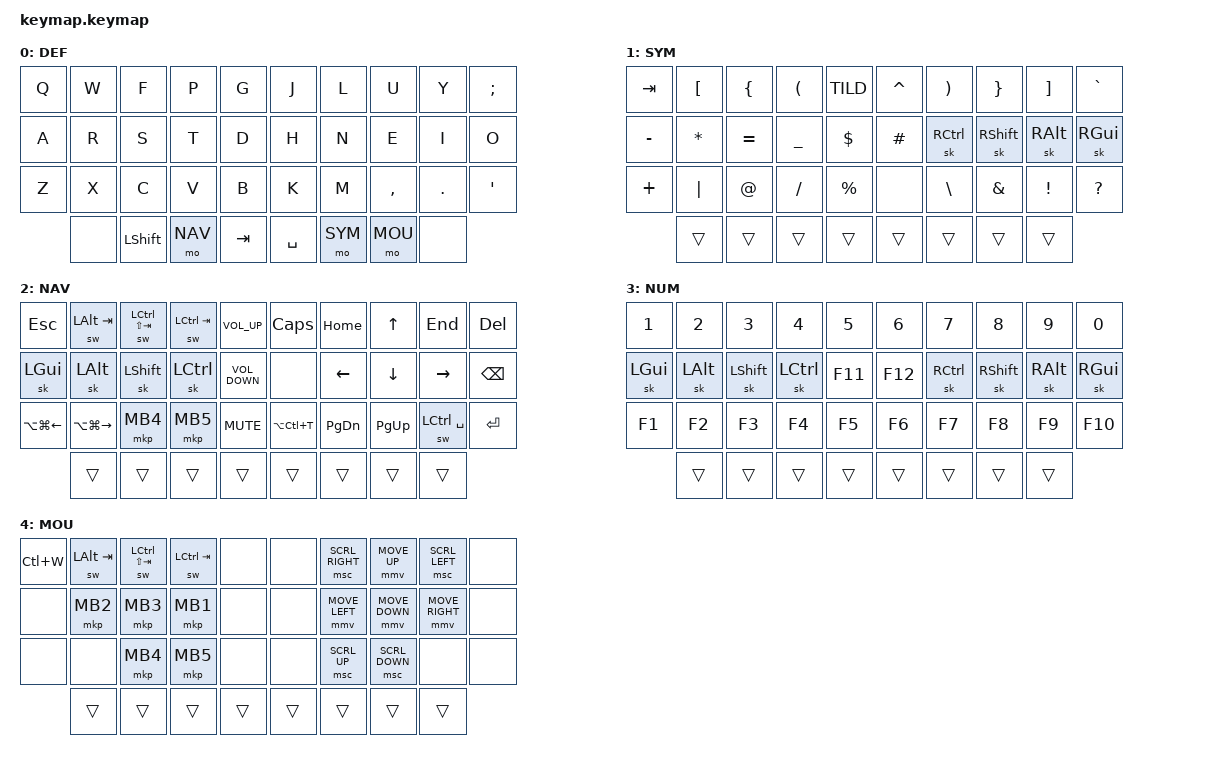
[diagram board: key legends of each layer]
#include <behaviors.dtsi>
#include <behaviors/swapper.dtsi>
#include <dt-bindings/zmk/keys.h>
#include <dt-bindings/zmk/pointing.h>
#include <dt-bindings/zmk/mouse.h>

#define DEF 0
#define SYM 1
#define NAV 2
#define NUM 3
#define MOU 4

&mmv {
    acceleration-exponent = <2>;
};
&msc {
    acceleration-exponent = <2>;
};

/ {
    

    keymap {
        compatible = "zmk,keymap";

        DEF { 
            bindings = <
                &kp Q        &kp W        &kp F        &kp P        &kp G         &kp J        &kp L        &kp U        &kp Y        &kp SEMI
                &kp A        &kp R        &kp S        &kp T        &kp D         &kp H        &kp N        &kp E        &kp I        &kp O
                &kp Z        &kp X        &kp C        &kp V        &kp B         &kp K        &kp M        &kp COMMA    &kp DOT      &kp SQT
                             &none        &kp LSHFT    &mo NAV      &kp TAB       &kp SPC      &mo SYM      &mo MOU      &none
            >;
        };

        SYM { 
            bindings = <
                &kp TAB         &kp LBKT        &kp LBRC        &kp LPRN        &kp TILD         &kp CARET       &kp RPRN         &kp RBRC        &kp RBKT         &kp GRAVE
                &kp MINUS       &kp ASTERISK    &kp EQUAL       &kp UNDER       &kp DLLR         &kp HASH        &sk RCTRL        &sk RSHFT       &sk RALT         &sk RGUI
                &kp PLUS        &kp PIPE        &kp AT          &kp SLASH       &kp PERCENT      &none           &kp BACKSLASH    &kp AMPERSAND   &kp EXCLAMATION  &kp QUESTION 
                                &trans          &trans          &trans          &trans           &trans          &trans           &trans          &trans
            >;
        };

        NAV { 
            bindings = <
                &kp ESCAPE       &sw LALT TAB      &sw LCTRL LS(TAB) &sw LCTRL TAB   &kp C_VOLUME_UP   &kp CAPSLOCK       &kp HOME         &kp UP        &kp END            &kp DELETE
                &sk LGUI         &sk LALT          &sk LSHFT         &sk LCTRL       &kp C_VOLUME_DOWN &none              &kp LEFT         &kp DOWN      &kp RIGHT          &kp BACKSPACE
                &kp LA(LG(LEFT)) &kp LA(LG(RIGHT)) &mkp MB4          &mkp MB5        &kp C_MUTE        &kp LA(LC(T))      &kp PAGE_DOWN    &kp PAGE_UP   &sw LCTRL SPC      &kp ENTER 
                                 &trans            &trans            &trans          &trans            &trans             &trans           &trans        &trans
            >;
        };


        NUM { 
            bindings = <
                &kp N1          &kp N2        &kp N3        &kp N4        &kp N5         &kp N6        &kp N7        &kp N8        &kp N9        &kp N0
                &sk LGUI        &sk LALT      &sk LSHFT     &sk LCTRL     &kp F11        &kp F12       &sk RCTRL     &sk RSHFT     &sk RALT      &sk RGUI
                &kp F1          &kp F2        &kp F3        &kp F4        &kp F5         &kp F6        &kp F7        &kp F8        &kp F9        &kp F10
                                &trans        &trans        &trans        &trans         &trans        &trans        &trans        &trans
            >;
        };

        MOU { 
            bindings = <
                &kp LC(W)       &sw LALT TAB  &sw LCTRL LS(TAB) &sw LCTRL TAB &none          &none         &msc SCRL_RIGHT &mmv MOVE_UP    &msc SCRL_LEFT  &none
                &none           &mkp MB2      &mkp MB3          &mkp MB1      &none          &none         &mmv MOVE_LEFT  &mmv MOVE_DOWN  &mmv MOVE_RIGHT &none
                &none           &none         &mkp MB4          &mkp MB5      &none          &none         &msc SCRL_UP    &msc SCRL_DOWN  &none           &none
                                &trans        &trans            &trans        &trans         &trans        &trans          &trans          &trans
            >;
        };
    };

    conditional_layers {
        compatible = "zmk,conditional-layers";
        tri_layer {
            if-layers = <1 2>;
            then-layer = <3>;
        };
    };

    combos {
        compatible = "zmk,combos";
        combo_boot_left {
            timeout-ms = <50>;
            key-positions = <30 33>;
            bindings = <&bootloader>;
        };
        combo_boot_right {
            timeout-ms = <50>;
            key-positions = <34 37>;
            bindings = <&bootloader>;
        };
    };

 };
